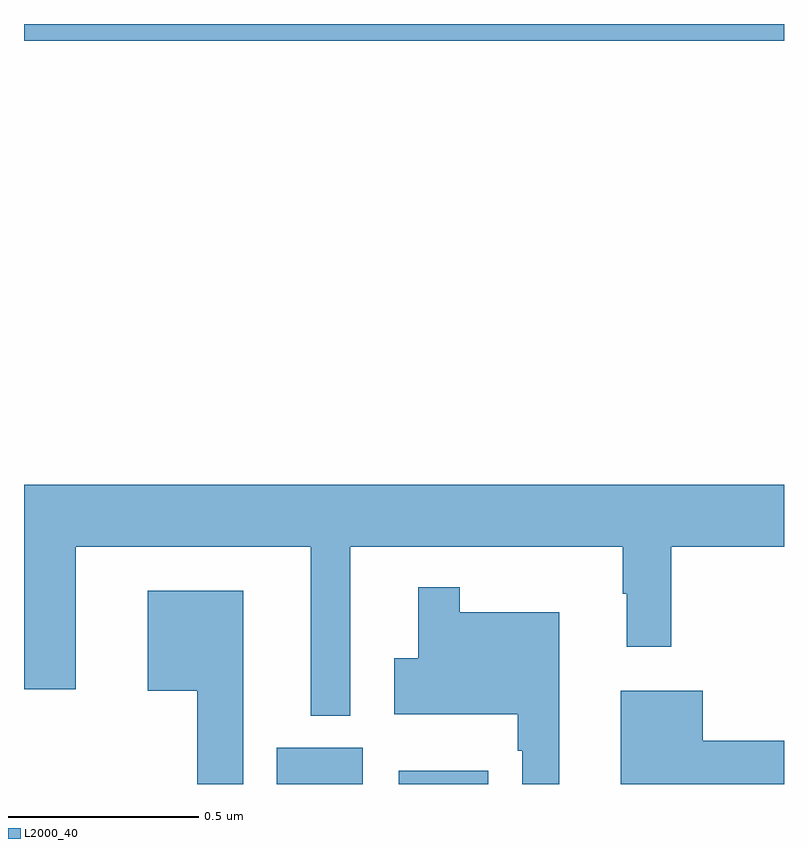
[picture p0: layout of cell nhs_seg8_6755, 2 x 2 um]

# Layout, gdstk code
import gdstk
lib = gdstk.Library(unit=1e-6, precision=1e-09)
def R(c, l, rs):  # rectangles x0, y0, x1, y1
    for r in rs: c.add(gdstk.rectangle(r[:2], r[2:], *l))
def P(c, l, *ps):  # polygons
    for p in ps: c.add(gdstk.Polygon(p, *l))
L2000_40 = (2000, 40)

nhs_seg8_6755 = lib.new_cell('nhs_seg8_6755')
R(nhs_seg8_6755, L2000_40, [(201.665,1091.9,201.892,1091.995), (201.986,1091.9,202.222,1091.935), (201,1093.856,203,1093.9)])
P(nhs_seg8_6755, L2000_40, [(201.859,1092.524),(202.575,1092.524),(202.575,1092.401),(202.586,1092.401),(202.586,1092.261),(202.703,1092.261),(202.703,1092.524),(203,1092.524),(203,1092.688),(201,1092.688),(201,1092.15),(201.136,1092.15),(201.136,1092.524),(201.755,1092.524),(201.755,1092.08),(201.859,1092.08)],
  [(202.408,1092.352),(202.147,1092.352),(202.147,1092.418),(202.037,1092.418),(202.037,1092.231),(201.974,1092.231),(201.974,1092.083),(202.299,1092.083),(202.299,1091.987),(202.311,1091.987),(202.311,1091.9),(202.408,1091.9)],
  [(201.577,1092.409),(201.326,1092.409),(201.326,1092.146),(201.456,1092.146),(201.456,1091.9),(201.577,1091.9)],
  [(203,1092.014),(202.786,1092.014),(202.786,1092.145),(202.571,1092.145),(202.571,1091.9),(203,1091.9)])

lib.write_gds('nhs_seg8_6755.gds')
